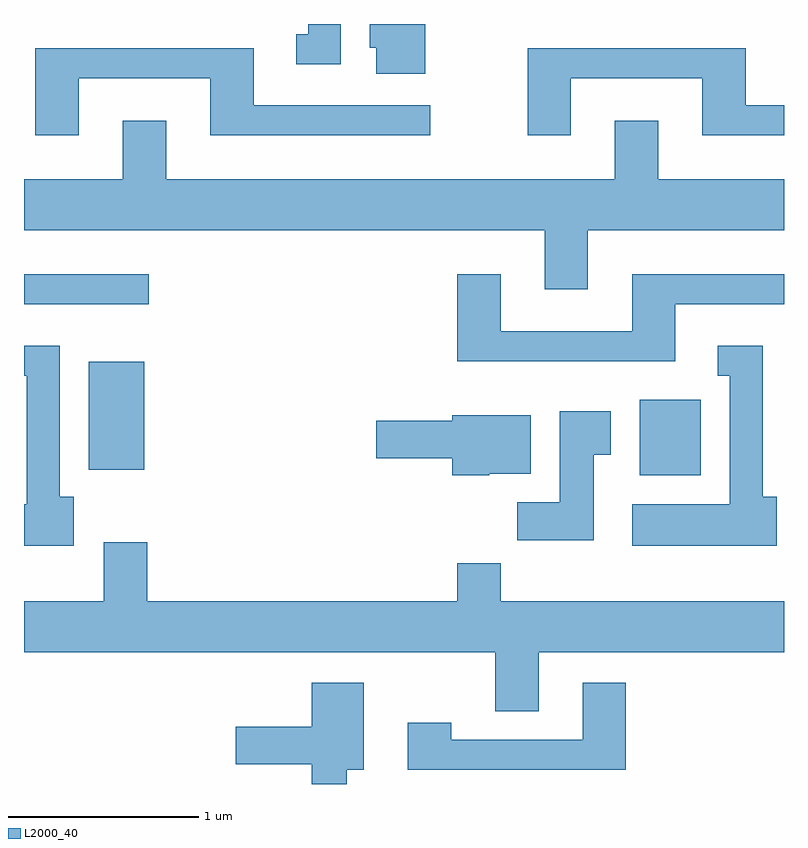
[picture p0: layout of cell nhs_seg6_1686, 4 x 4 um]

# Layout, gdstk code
import gdstk
lib = gdstk.Library(unit=1e-6, precision=1e-09)
def R(c, l, rs):  # rectangles x0, y0, x1, y1
    for r in rs: c.add(gdstk.rectangle(r[:2], r[2:], *l))
def P(c, l, *ps):  # polygons
    for p in ps: c.add(gdstk.Polygon(p, *l))
L2000_40 = (2000, 40)

nhs_seg6_1686 = lib.new_cell('nhs_seg6_1686')
R(nhs_seg6_1686, L2000_40, [(238.851,1619.786,239.174,1620.184), (235.951,1619.816,236.244,1620.384), (235.611,1620.686,236.268,1620.844)])
P(nhs_seg6_1686, L2000_40, [(237.279,1622.162),(237.106,1622.162),(237.106,1622.109),(237.043,1622.109),(237.043,1621.951),(237.279,1621.951)],
  [(237.724,1622.162),(237.431,1622.162),(237.431,1622.036),(237.466,1622.036),(237.466,1621.901),(237.724,1621.901)],
  [(238.489,1621.876),(239.181,1621.876),(239.181,1621.576),(239.611,1621.576),(239.611,1621.734),(239.409,1621.734),(239.409,1622.034),(238.261,1622.034),(238.261,1621.576),(238.489,1621.576)],
  [(235.899,1621.876),(236.591,1621.876),(236.591,1621.576),(237.748,1621.576),(237.748,1621.734),(236.819,1621.734),(236.819,1622.034),(235.671,1622.034),(235.671,1621.576),(235.899,1621.576)],
  [(238.579,1621.076),(239.611,1621.076),(239.611,1621.344),(238.949,1621.344),(238.949,1621.654),(238.721,1621.654),(238.721,1621.344),(236.359,1621.344),(236.359,1621.654),(236.131,1621.654),(236.131,1621.344),(235.611,1621.344),(235.611,1621.076),(238.351,1621.076),(238.351,1620.766),(238.579,1620.766)],
  [(239.039,1620.686),(239.611,1620.686),(239.611,1620.844),(238.811,1620.844),(238.811,1620.544),(238.119,1620.544),(238.119,1620.844),(237.891,1620.844),(237.891,1620.386),(239.039,1620.386)],
  [(239.574,1619.674),(239.499,1619.674),(239.499,1620.469),(239.263,1620.469),(239.263,1620.311),(239.326,1620.311),(239.326,1619.634),(238.811,1619.634),(238.811,1619.416),(239.574,1619.416)],
  [(235.874,1619.674),(235.799,1619.674),(235.799,1620.469),(235.611,1620.469),(235.611,1620.311),(235.626,1620.311),(235.626,1619.634),(235.611,1619.634),(235.611,1619.416),(235.874,1619.416)],
  [(238.609,1619.896),(238.699,1619.896),(238.699,1620.124),(238.431,1620.124),(238.431,1619.644),(238.206,1619.644),(238.206,1619.446),(238.609,1619.446)],
  [(238.06,1619.796),(238.279,1619.796),(238.279,1620.104),(237.866,1620.104),(237.866,1620.074),(237.466,1620.074),(237.466,1619.876),(237.866,1619.876),(237.866,1619.786),(238.06,1619.786)],
  [(238.319,1618.856),(239.611,1618.856),(239.611,1619.124),(238.119,1619.124),(238.119,1619.324),(237.891,1619.324),(237.891,1619.124),(236.259,1619.124),(236.259,1619.434),(236.031,1619.434),(236.031,1619.124),(235.611,1619.124),(235.611,1618.856),(238.091,1618.856),(238.091,1618.546),(238.319,1618.546)],
  [(238.779,1618.694),(238.551,1618.694),(238.551,1618.394),(237.859,1618.394),(237.859,1618.484),(237.631,1618.484),(237.631,1618.236),(238.779,1618.236)],
  [(237.309,1618.236),(237.399,1618.236),(237.399,1618.694),(237.126,1618.694),(237.126,1618.464),(236.726,1618.464),(236.726,1618.266),(237.126,1618.266),(237.126,1618.162),(237.309,1618.162)])

lib.write_gds('nhs_seg6_1686.gds')
